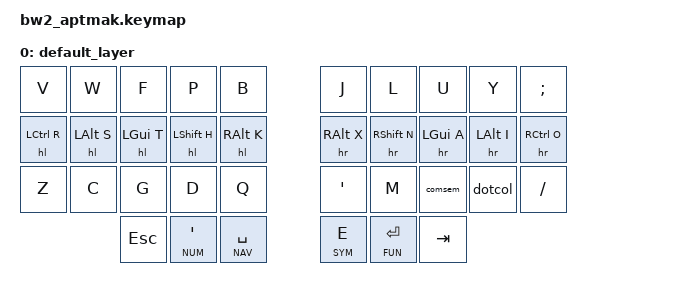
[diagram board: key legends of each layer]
#include "swweeep_common.dtsi"

// Aptmak base layer for the Bad Wings v2 with Cirque touchpad, built as the
// bw2-aptmak firmware. Same as swweeep_aptmak.keymap, except ESC has no
// BT layer (the bw2 is USB only).

/ {
    keymap {
        compatible = "zmk,keymap";

    default_layer {
            bindings = <
    &kp V        &kp W       &kp F       &kp P        &kp B          &kp J       &kp L          &kp U       &kp Y       &kp SEMI
    &hl LCTRL R  &hl LALT S  &hl LGUI T  &hl LSHFT H  &hl RALT K     &hr RALT X  &hr RSHFT N    &hr LGUI A  &hr LALT I  &hr RCTRL O
    &kp Z        &kp C       &kp G       &kp D        &kp Q          &kp SQT     &kp M          &comsem     &dotcol     &kp FSLH
                             &kp ESC     &lt NUM SQT  &lt NAV SPACE  &lt SYM E   &lt FUN ENTER  &kp TAB
            >;
        };
    };
};

#include "bw2_layers.dtsi"
